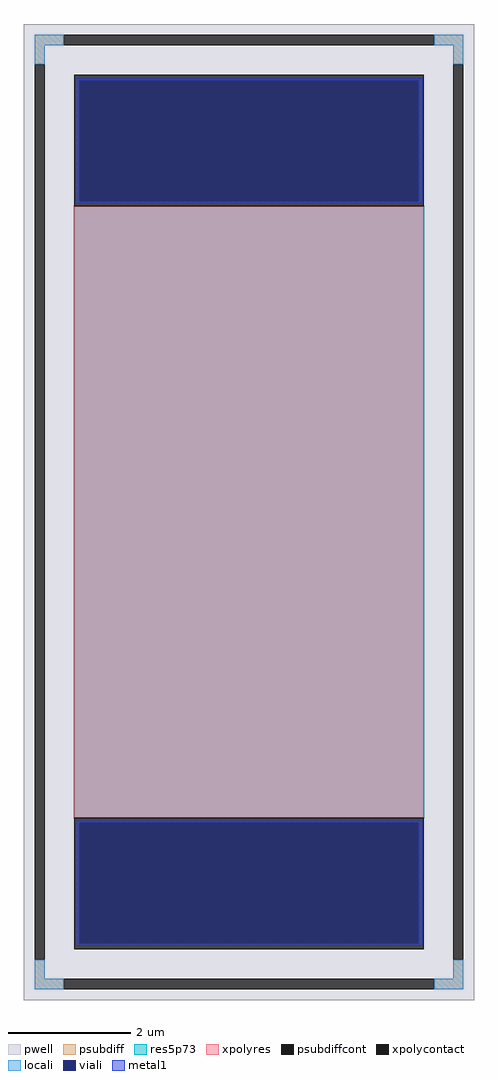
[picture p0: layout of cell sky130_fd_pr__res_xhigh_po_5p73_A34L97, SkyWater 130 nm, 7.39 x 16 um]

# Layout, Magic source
magic
tech sky130A
magscale 1 2
<< pwell >>
rect -739 -1600 739 1600
<< psubdiff >>
rect -703 1530 -607 1564
rect 607 1530 703 1564
rect -703 1468 -669 1530
rect 669 1468 703 1530
rect -703 -1530 -669 -1468
rect 669 -1530 703 -1468
rect -703 -1564 -607 -1530
rect 607 -1564 703 -1530
<< psubdiffcont >>
rect -607 1530 607 1564
rect -703 -1468 -669 1468
rect 669 -1468 703 1468
rect -607 -1564 607 -1530
<< xpolycontact >>
rect -573 1002 573 1434
rect -573 -1434 573 -1002
<< xpolyres >>
rect -573 -1002 573 1002
<< locali >>
rect -703 1530 -607 1564
rect 607 1530 703 1564
rect -703 1468 -669 1530
rect 669 1468 703 1530
rect -703 -1530 -669 -1468
rect 669 -1530 703 -1468
rect -703 -1564 -607 -1530
rect 607 -1564 703 -1530
<< viali >>
rect -557 1019 557 1416
rect -557 -1416 557 -1019
<< metal1 >>
rect -569 1416 569 1422
rect -569 1019 -557 1416
rect 557 1019 569 1416
rect -569 1013 569 1019
rect -569 -1019 569 -1013
rect -569 -1416 -557 -1019
rect 557 -1416 569 -1019
rect -569 -1422 569 -1416
<< res5p73 >>
rect -575 -1004 575 1004
<< properties >>
string FIXED_BBOX -686 -1547 686 1547
string gencell sky130_fd_pr__res_xhigh_po_5p73
string library sky130
string parameters w 5.730 l 10.02 m 1 nx 1 wmin 5.730 lmin 0.50 rho 2000 val 3.563k dummy 0 dw 0.0 term 188.2 sterm 0.0 caplen 0 wmax 5.730 guard 1 glc 1 grc 1 gtc 1 gbc 1 compatible {sky130_fd_pr__res_xhigh_po_0p35  sky130_fd_pr__res_xhigh_po_0p69 sky130_fd_pr__res_xhigh_po_1p41  sky130_fd_pr__res_xhigh_po_2p85 sky130_fd_pr__res_xhigh_po_5p73} snake 0 full_metal 1 n_guard 0 hv_guard 0 vias 1 viagb 0 viagt 0 viagl 0 viagr 0
<< end >>
